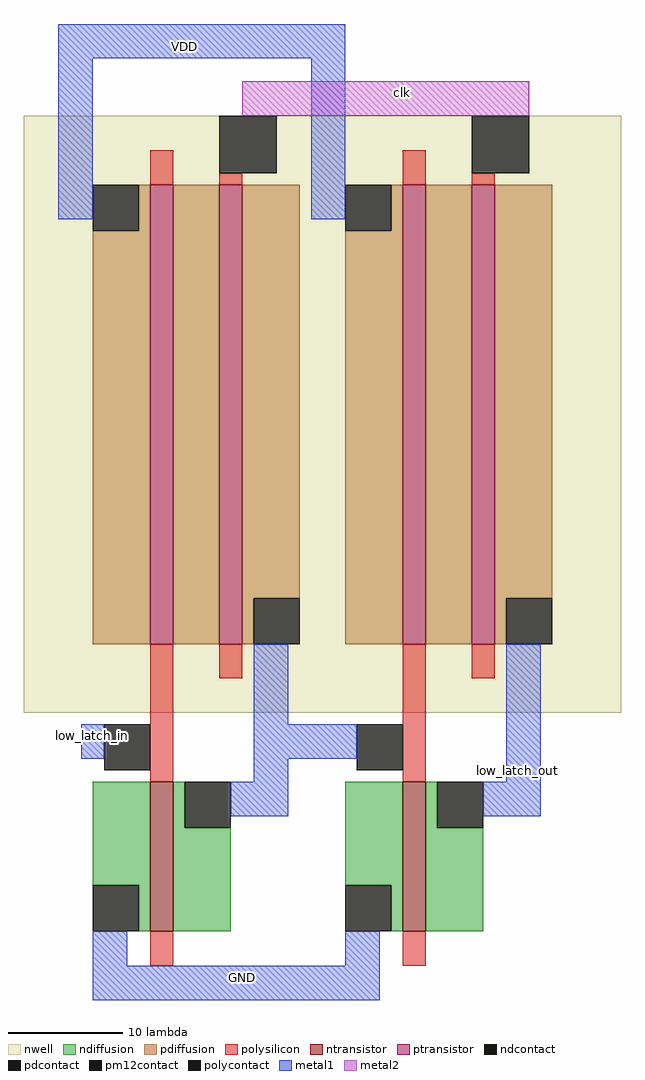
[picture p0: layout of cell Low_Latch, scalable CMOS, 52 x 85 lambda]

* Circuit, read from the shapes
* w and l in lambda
.subckt Low_Latch GND VDD clk low_latch_in low_latch_out
M1 n1 low_latch_in GND VSUBS nfet w=13 l=2
M2 low_latch_out n1 GND VSUBS nfet w=13 l=2
M3 n2 low_latch_in VDD n3 pfet w=40 l=2
M4 n1 clk n2 n3 pfet w=40 l=2
M5 n4 n1 VDD n3 pfet w=40 l=2
M6 low_latch_out clk n4 n3 pfet w=40 l=2
.ends

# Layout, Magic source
magic
tech scmos
<< nwell >>
rect 0 0 52 52
<< ntransistor >>
rect 11 -19 13 -6
rect 33 -19 35 -6
<< ptransistor >>
rect 11 6 13 46
rect 17 6 19 46
rect 33 6 35 46
rect 39 6 41 46
<< ndiffusion >>
rect 6 -15 11 -6
rect 10 -19 11 -15
rect 13 -10 14 -6
rect 13 -19 18 -10
rect 28 -15 33 -6
rect 32 -19 33 -15
rect 35 -10 36 -6
rect 35 -19 40 -10
<< pdiffusion >>
rect 10 42 11 46
rect 6 6 11 42
rect 13 6 17 46
rect 19 10 24 46
rect 19 6 20 10
rect 32 42 33 46
rect 28 6 33 42
rect 35 6 39 46
rect 41 10 46 46
rect 41 6 42 10
<< ndcontact >>
rect 6 -19 10 -15
rect 14 -10 18 -6
rect 28 -19 32 -15
rect 36 -10 40 -6
<< pdcontact >>
rect 6 42 10 46
rect 20 6 24 10
rect 28 42 32 46
rect 42 6 46 10
<< polysilicon >>
rect 11 46 13 49
rect 17 46 19 47
rect 33 46 35 49
rect 39 46 41 47
rect 11 -6 13 6
rect 17 3 19 6
rect 33 -6 35 6
rect 39 3 41 6
rect 11 -22 13 -19
rect 33 -22 35 -19
<< polycontact >>
rect 7 -5 11 -1
rect 29 -5 33 -1
<< metal1 >>
rect 3 57 28 60
rect 3 43 6 57
rect 25 43 28 57
rect 20 -1 23 6
rect 5 -4 7 -1
rect 20 -4 29 -1
rect 20 -6 23 -4
rect 42 -6 45 6
rect 18 -9 23 -6
rect 40 -9 45 -6
rect 6 -22 9 -19
rect 28 -22 31 -19
rect 6 -25 31 -22
<< pm12contact >>
rect 17 47 22 52
rect 39 47 44 52
<< metal2 >>
rect 19 52 44 55
<< labels >>
rlabel metal1 14 58 14 58 5 VDD
rlabel metal1 19 -23 19 -23 1 GND
rlabel metal1 6 -2 6 -2 1 low_latch_in
rlabel metal1 43 -5 43 -5 1 low_latch_out
rlabel metal2 33 54 33 54 1 clk
<< end >>
